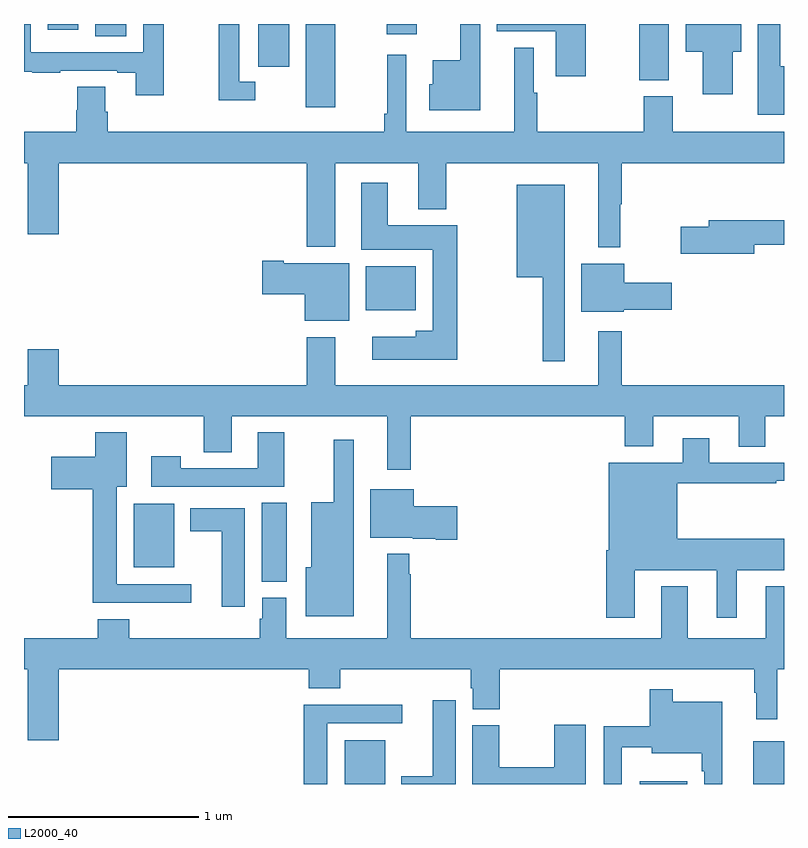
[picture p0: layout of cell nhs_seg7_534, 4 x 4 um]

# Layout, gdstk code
import gdstk
lib = gdstk.Library(unit=1e-6, precision=1e-09)
def R(c, l, rs):  # rectangles x0, y0, x1, y1
    for r in rs: c.add(gdstk.rectangle(r[:2], r[2:], *l))
def P(c, l, *ps):  # polygons
    for p in ps: c.add(gdstk.Polygon(p, *l))
L2000_40 = (2000, 40)

nhs_seg7_534 = lib.new_cell('nhs_seg7_534')
R(nhs_seg7_534, L2000_40, [(154.688,1012,154.9,1012.231), (156.242,1012,156.49,1012.015), (156.839,1012,157,1012.225), (154.25,1013.065,154.384,1013.48), (153.578,1013.141,153.79,1013.476), (154.799,1014.494,155.062,1014.724), (154.484,1015.563,154.639,1016), (156.239,1015.705,156.394,1016), (154.232,1015.776,154.396,1016), (153.374,1015.936,153.538,1016), (154.91,1015.947,155.068,1016), (153.125,1015.971,153.286,1016)])
P(nhs_seg7_534, L2000_40, [(155.401,1016),(155.297,1016),(155.297,1015.81),(155.15,1015.81),(155.15,1015.683),(155.132,1015.683),(155.132,1015.547),(155.401,1015.547)],
  [(153.736,1016),(153.627,1016),(153.627,1015.851),(153.036,1015.851),(153.036,1016),(153,1016),(153,1015.749),(153.043,1015.749),(153.043,1015.743),(153.191,1015.743),(153.191,1015.755),(153.491,1015.755),(153.491,1015.743),(153.587,1015.743),(153.587,1015.626),(153.736,1015.626)],
  [(157,1015.777),(156.979,1015.777),(156.979,1016),(156.863,1016),(156.863,1015.523),(157,1015.523)],
  [(156.73,1015.853),(156.775,1015.853),(156.775,1016),(156.482,1016),(156.482,1015.853),(156.572,1015.853),(156.572,1015.629),(156.73,1015.629)],
  [(154.216,1015.695),(154.134,1015.695),(154.134,1016),(154.026,1016),(154.026,1015.598),(154.216,1015.598)],
  [(155.956,1016),(155.489,1016),(155.489,1015.961),(155.798,1015.961),(155.798,1015.725),(155.956,1015.725)],
  [(156.137,1015.052),(156.145,1015.052),(156.145,1015.268),(157,1015.268),(157,1015.432),(156.415,1015.432),(156.415,1015.62),(156.263,1015.62),(156.263,1015.432),(155.701,1015.432),(155.701,1015.637),(155.683,1015.637),(155.683,1015.876),(155.579,1015.876),(155.579,1015.432),(155.013,1015.432),(155.013,1015.837),(154.912,1015.837),(154.912,1015.528),(154.897,1015.528),(154.897,1015.432),(153.44,1015.432),(153.44,1015.538),(153.427,1015.538),(153.427,1015.67),(153.28,1015.67),(153.28,1015.545),(153.275,1015.545),(153.275,1015.432),(153,1015.432),(153,1015.268),(153.02,1015.268),(153.02,1014.894),(153.184,1014.894),(153.184,1015.268),(154.487,1015.268),(154.487,1014.827),(154.639,1014.827),(154.639,1015.268),(155.075,1015.268),(155.075,1015.025),(155.223,1015.025),(155.223,1015.268),(156.023,1015.268),(156.023,1014.824),(156.137,1014.824)],
  [(155.28,1014.94),(154.915,1014.94),(154.915,1015.165),(154.775,1015.165),(154.775,1014.812),(155.15,1014.812),(155.15,1014.385),(155.063,1014.385),(155.063,1014.355),(154.833,1014.355),(154.833,1014.233),(155.28,1014.233)],
  [(155.845,1015.153),(155.594,1015.153),(155.594,1014.668),(155.731,1014.668),(155.731,1014.225),(155.845,1014.225)],
  [(156.844,1014.838),(157,1014.838),(157,1014.967),(156.605,1014.967),(156.605,1014.933),(156.456,1014.933),(156.456,1014.791),(156.844,1014.791)],
  [(154.711,1014.742),(154.366,1014.742),(154.366,1014.755),(154.254,1014.755),(154.254,1014.577),(154.478,1014.577),(154.478,1014.437),(154.711,1014.437)],
  [(156.156,1014.496),(156.409,1014.496),(156.409,1014.638),(156.16,1014.638),(156.16,1014.739),(155.933,1014.739),(155.933,1014.485),(156.156,1014.485)],
  [(155.035,1013.936),(156.161,1013.936),(156.161,1013.777),(156.313,1013.777),(156.313,1013.936),(156.761,1013.936),(156.761,1013.776),(156.901,1013.776),(156.901,1013.936),(157,1013.936),(157,1014.1),(156.145,1014.1),(156.145,1014.382),(156.023,1014.382),(156.023,1014.1),(154.639,1014.1),(154.639,1014.352),(154.487,1014.352),(154.487,1014.1),(153.184,1014.1),(153.184,1014.289),(153.02,1014.289),(153.02,1014.1),(153,1014.1),(153,1013.936),(153.946,1013.936),(153.946,1013.746),(154.093,1013.746),(154.093,1013.936),(154.913,1013.936),(154.913,1013.655),(155.035,1013.655)],
  [(154.369,1013.851),(154.229,1013.851),(154.229,1013.661),(153.825,1013.661),(153.825,1013.725),(153.669,1013.725),(153.669,1013.565),(154.369,1013.565)],
  [(153.88,1013.052),(153.487,1013.052),(153.487,1013.564),(153.541,1013.564),(153.541,1013.851),(153.374,1013.851),(153.374,1013.722),(153.144,1013.722),(153.144,1013.552),(153.362,1013.552),(153.362,1012.955),(153.88,1012.955)],
  [(156.214,1013.126),(156.647,1013.126),(156.647,1012.875),(156.751,1012.875),(156.751,1013.126),(157,1013.126),(157,1013.29),(156.439,1013.29),(156.439,1013.583),(156.959,1013.583),(156.959,1013.595),(157,1013.595),(157,1013.691),(156.607,1013.691),(156.607,1013.821),(156.467,1013.821),(156.467,1013.692),(156.077,1013.692),(156.077,1013.23),(156.065,1013.23),(156.065,1012.875),(156.214,1012.875)],
  [(154.735,1013.812),(154.629,1013.812),(154.629,1013.482),(154.511,1013.482),(154.511,1013.142),(154.484,1013.142),(154.484,1012.883),(154.735,1012.883)],
  [(155.281,1013.463),(155.05,1013.463),(155.05,1013.551),(154.823,1013.551),(154.823,1013.297),(155.046,1013.297),(155.046,1013.291),(155.168,1013.291),(155.168,1013.285),(155.281,1013.285)],
  [(154.162,1013.452),(153.875,1013.452),(153.875,1013.33),(154.04,1013.33),(154.04,1012.932),(154.162,1012.932)],
  [(153.184,1012.604),(154.499,1012.604),(154.499,1012.505),(154.664,1012.505),(154.664,1012.604),(155.351,1012.604),(155.351,1012.503),(155.363,1012.503),(155.363,1012.393),(155.504,1012.393),(155.504,1012.604),(156.843,1012.604),(156.843,1012.481),(156.854,1012.481),(156.854,1012.341),(156.964,1012.341),(156.964,1012.604),(157,1012.604),(157,1013.041),(156.905,1013.041),(156.905,1012.768),(156.493,1012.768),(156.493,1013.041),(156.353,1013.041),(156.353,1012.768),(155.035,1012.768),(155.035,1013.105),(155.027,1013.105),(155.027,1013.212),(154.913,1013.212),(154.913,1012.768),(154.381,1012.768),(154.381,1012.98),(154.253,1012.98),(154.253,1012.869),(154.241,1012.869),(154.241,1012.768),(153.554,1012.768),(153.554,1012.867),(153.389,1012.867),(153.389,1012.768),(153,1012.768),(153,1012.604),(153.02,1012.604),(153.02,1012.23),(153.184,1012.23)],
  [(156.147,1012.193),(156.305,1012.193),(156.305,1012.163),(156.567,1012.163),(156.567,1012.067),(156.579,1012.067),(156.579,1012),(156.676,1012),(156.676,1012.432),(156.415,1012.432),(156.415,1012.498),(156.294,1012.498),(156.294,1012.303),(156.051,1012.303),(156.051,1012),(156.147,1012)],
  [(155.272,1012.441),(155.15,1012.441),(155.15,1012.042),(154.985,1012.042),(154.985,1012),(155.272,1012)],
  [(154.597,1012.32),(154.99,1012.32),(154.99,1012.418),(154.472,1012.418),(154.472,1012),(154.597,1012)],
  [(155.956,1012.312),(155.791,1012.312),(155.791,1012.088),(155.502,1012.088),(155.502,1012.308),(155.36,1012.308),(155.36,1012),(155.956,1012)])

lib.write_gds('nhs_seg7_534.gds')
